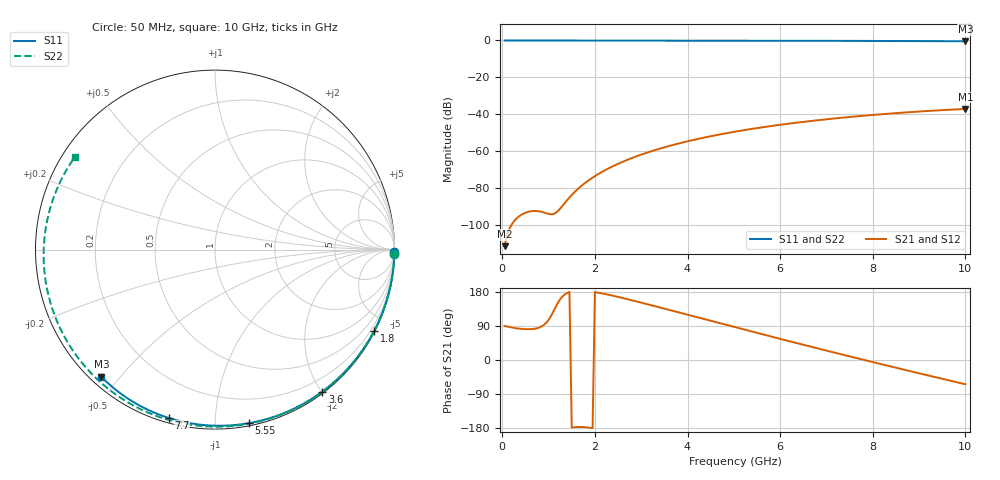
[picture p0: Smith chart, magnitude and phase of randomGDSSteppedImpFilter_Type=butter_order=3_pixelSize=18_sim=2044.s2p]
! freq	dB(S11)	phase(S11)	dB(S12)	phase(S12)
!  dB(S21)	phase(S21)	dB(S22)	phase(S22)
!S-par simulation data
#  GHz  S  DB  R 50
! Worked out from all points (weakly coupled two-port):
!   200 points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, 50 MHz to 10 GHz, reference 50 ohm
!   highest |S21| = -37.18 dB at 10 GHz (marker M1); lowest = -111.7 dB at 50 MHz (marker M2)
!   lowest |S11| = -0.4 dB at 10 GHz (marker M3), VSWR 39.25, Z = 1.53 - j22.4 ohm
!   |S11| at or under -10 dB: nowhere
!   |S22| runs from -0.6 to 0.0 dB; largest |S21 - S12| = 0
!   S11 on the Smith chart (normalised r, x): 50 MHz: open; 1.8 GHz: 0.04, -4.16; 3.6 GHz: 0.02, -2.01; 5.55 GHz: 0.02, -1.21; 7.7 GHz: 0.02, -0.76; 10 GHz: 0.03, -0.45
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0.05  -0.00 -0.8  -111.70 89.6  -111.70 89.6  -0.00 -1.3
0.4  -0.01 -6.1  -94.83 82.3  -94.83 82.3  -0.01 -10.4
0.8  -0.02 -12.1  -92.80 85.7  -92.80 85.7  -0.03 -20.8
1.2  -0.02 -18.1  -92.64 150.9  -92.64 150.9  -0.04 -31.0
1.65  -0.03 -24.8  -80.22 -176.7  -80.22 -176.7  -0.05 -42.2
1.75  -0.03 -26.3  -78.12 -177.0  -78.12 -177.0  -0.06 -44.7
1.8  -0.03 -27.1  -77.14 -177.5  -77.14 -177.5  -0.06 -45.9
2.1  -0.04 -31.5  -72.13 177.0  -72.13 177.0  -0.07 -53.2
2.5  -0.05 -37.3  -66.97 166.4  -66.97 166.4  -0.08 -62.8
2.9  -0.06 -43.0  -62.88 154.5  -62.88 154.5  -0.09 -72.0
3.4  -0.07 -50.1  -58.75 138.7  -58.75 138.7  -0.11 -83.3
3.6  -0.07 -52.9  -57.32 132.3  -57.32 132.3  -0.11 -87.7
4.3  -0.09 -62.5  -53.05 109.8  -53.05 109.8  -0.14 -102.5
5.05  -0.11 -72.5  -49.42 85.8  -49.42 85.8  -0.17 -117.8
5.55  -0.13 -79.0  -47.40 69.9  -47.40 69.9  -0.20 -127.6
6.15  -0.15 -86.6  -45.30 51.0  -45.30 51.0  -0.23 -139.2
6.7  -0.18 -93.4  -43.63 34.0  -43.63 34.0  -0.27 -149.6
7.2  -0.21 -99.4  -42.29 18.6  -42.29 18.6  -0.31 -159.0
7.7  -0.24 -105.4  -41.09 3.5  -41.09 3.5  -0.35 -168.4
8.35  -0.29 -113.0  -39.74 -15.9  -39.74 -15.9  -0.41 179.3
9.2  -0.36 -122.7  -38.27 -40.9  -38.27 -40.9  -0.49 162.7
10  -0.44 -131.8  -37.18 -64.0  -37.18 -64.0  -0.57 146.5
